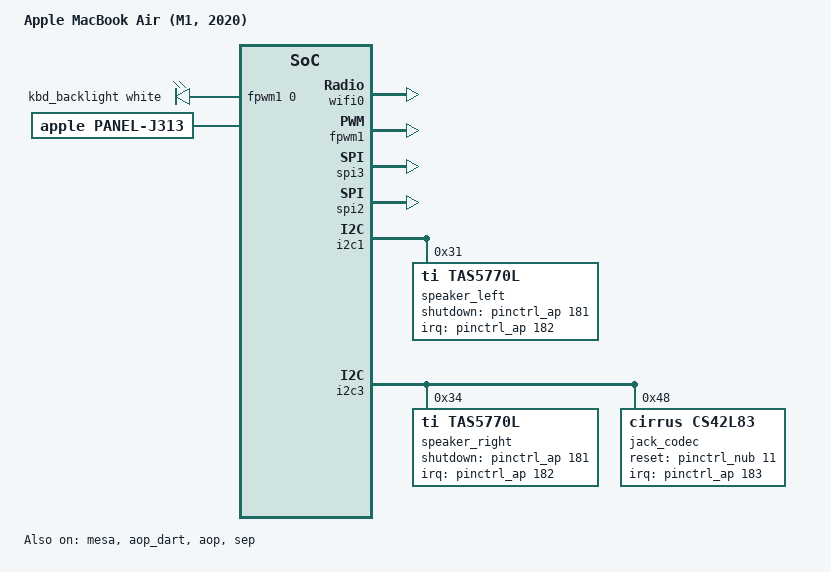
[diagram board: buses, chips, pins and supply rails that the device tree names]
// SPDX-License-Identifier: GPL-2.0+ OR MIT
/*
 * Apple MacBook Air (M1, 2020)
 *
 * target-type: J313
 *
 * Copyright The Asahi Linux Contributors
 */

/dts-v1/;

#include "t8103.dtsi"
#include "t8103-jxxx.dtsi"
#include <dt-bindings/leds/common.h>

/ {
	compatible = "apple,j313", "apple,t8103", "apple,arm-platform";
	model = "Apple MacBook Air (M1, 2020)";
	chassis-type = "laptop";

	aliases {
		sep = &sep;
	};

	led-controller {
		compatible = "pwm-leds";
		led-0 {
			pwms = <&fpwm1 0 40000>;
			label = "kbd_backlight";
			function = LED_FUNCTION_KBD_BACKLIGHT;
			color = <LED_COLOR_ID_WHITE>;
			max-brightness = <255>;
			default-state = "keep";
		};
	};
};

&dcp {
	panel: panel {
		compatible = "apple,panel-j313", "apple,panel";
		width-mm = <286>;
		height-mm = <179>;
		apple,max-brightness = <420>;
	};
};

&framebuffer0 {
	panel = <&panel>;
	post-init-providers = <&panel>;
};

&bluetooth0 {
	brcm,board-type = "apple,shikoku";
};

&wifi0 {
	brcm,board-type = "apple,shikoku";
};

&fpwm1 {
	status = "okay";
};

/*
 * Provide labels for the USB type C ports.
 */

&typec0 {
	label = "USB-C Left-back";
};

&typec1 {
	label = "USB-C Left-front";
};

&spi3 {
	status = "okay";

	hid-transport@0 {
		compatible = "apple,spi-hid-transport";
		reg = <0>;
		spi-max-frequency = <8000000>;
		/*
		 * Apple's ADT specifies 20us CS change delays, and the
		 * SPI HID interface metadata specifies 45us. Using either
		 * seems not to be reliable, but adding both works, so
		 * best guess is they are cumulative.
		 */
		spi-cs-setup-delay-ns = <65000>;
		spi-cs-hold-delay-ns = <65000>;
		spi-cs-inactive-delay-ns = <250000>;
		spien-gpios = <&pinctrl_ap 195 0>;
		interrupts-extended = <&pinctrl_nub 13 IRQ_TYPE_LEVEL_LOW>;
	};
};

/*
 * Mesa fingerprint sensor on SPI2. The power line (pin 108, active high) comes
 * from the J313 platform device tree, which also lists an interrupt on pin 104. The
 * interrupt is left out on purpose: the driver polls, and the trigger flags in
 * the ADT (3) are not decoded with any certainty here. Pin 104 reads back as a
 * plain input with a pull-down, which rules out the two active-low readings of
 * that value but does not decide between the remaining ones.
 *
 * Do not add cs-gpios. The sensor needs the controller's native chip select,
 * otherwise the SPI core skips the hardware CS timing.
 */
&spi2 {
	status = "okay";
};

&mesa {
	status = "okay";
	enable-gpios = <&pinctrl_ap 108 GPIO_ACTIVE_HIGH>;
	spi-cs-setup-delay-ns = <20>;
	spi-cs-hold-delay-ns = <20>;
	/*
	 * Per-device factory data written at manufacture.  It is not
	 * redistributable and has to be extracted from the machine's own macOS
	 * install, so the name only fixes where the driver looks for it.
	 */
	firmware-name = "apple/mesacal-j313.bin";
};

&i2c1 {
	speaker_left: codec@31 {
		compatible = "ti,tas5770l", "ti,tas2770";
		reg = <0x31>;
		shutdown-gpios = <&pinctrl_ap 181 GPIO_ACTIVE_HIGH>;
		#sound-dai-cells = <0>;
		sound-name-prefix = "Left";
		interrupts-extended = <&pinctrl_ap 182 IRQ_TYPE_LEVEL_LOW>;
		ti,imon-slot-no = <0>;
		ti,vmon-slot-no = <2>;
	};
};

&i2c3 {
	speaker_right: codec@34 {
		compatible = "ti,tas5770l", "ti,tas2770";
		reg = <0x34>;
		shutdown-gpios = <&pinctrl_ap 181 GPIO_ACTIVE_HIGH>;
		#sound-dai-cells = <0>;
		sound-name-prefix = "Right";
		interrupts-extended = <&pinctrl_ap 182 IRQ_TYPE_LEVEL_LOW>;
		ti,imon-slot-no = <4>;
		ti,vmon-slot-no = <6>;
	};

	jack_codec: codec@48 {
		compatible = "cirrus,cs42l83";
		reg = <0x48>;
		reset-gpios = <&pinctrl_nub 11 GPIO_ACTIVE_HIGH>;
		interrupt-parent = <&pinctrl_ap>;
		interrupts = <183 IRQ_TYPE_LEVEL_LOW>;
		#sound-dai-cells = <0>;
		cirrus,ts-inv = <1>;
		sound-name-prefix = "Jack";
	};
};

&aop_mbox {
       status = "okay";
};

&aop_dart {
       status = "okay";
};

&aop_admac {
       status = "okay";
};

&aop {
	status = "okay";
};

&sep {
	status = "okay";
};

&aop_audio {
	apple,chassis-name = "J313";
	apple,machine-kind = "MacBook Air";
};

/ {
	sound {
		compatible = "apple,j313-macaudio", "apple,macaudio";
		model = "MacBook Air J313";

		dai-link@0 {
			link-name = "Speakers";
			dai-tdm-idle-mode-0 = "zero";
			dai-tdm-idle-mode-1 = "zero";

			cpu {
				sound-dai = <&mca 0>, <&mca 1>;
			};
			codec {
				sound-dai = <&speaker_left>, <&speaker_right>;
			};
		};

		dai-link@1 {
			link-name = "Headphone Jack";

			cpu {
				sound-dai = <&mca 2>;
			};
			codec {
				sound-dai = <&jack_codec>;
			};
		};
	};
};

#include "isp-imx248.dtsi"

&isp {
	apple,platform-id = <1>;
};

#include "hwmon-laptop.dtsi"
